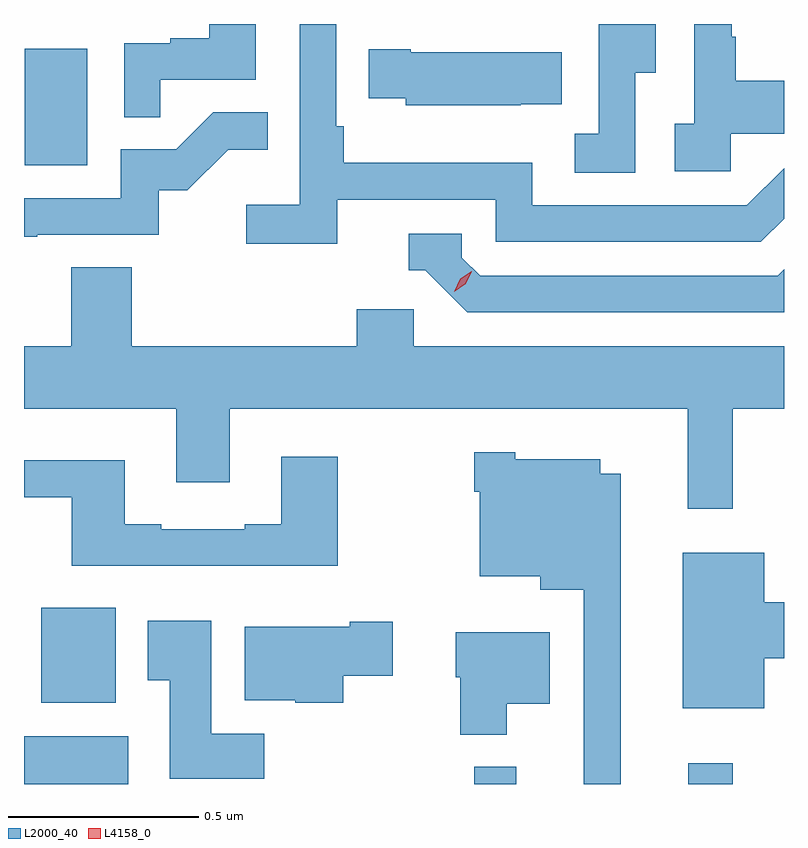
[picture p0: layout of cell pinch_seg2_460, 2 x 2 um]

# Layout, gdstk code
import gdstk
lib = gdstk.Library(unit=1e-6, precision=1e-09)
def R(c, l, rs):  # rectangles x0, y0, x1, y1
    for r in rs: c.add(gdstk.rectangle(r[:2], r[2:], *l))
def P(c, l, *ps):  # polygons
    for p in ps: c.add(gdstk.Polygon(p, *l))
L2000_40 = (2000, 40)
L4158_0 = (4158, 0)

pinch_seg2_460 = lib.new_cell('pinch_seg2_460')
R(pinch_seg2_460, L2000_40, [(912.792,609.352,913.066,609.478), (913.977,609.352,914.087,609.397), (914.54,609.352,914.657,609.406), (912.837,609.566,913.033,609.816), (912.794,610.98,912.958,611.287)])
P(pinch_seg2_460, L2000_40, [(913.616,610.89),(914.034,610.89),(914.034,610.779),(914.731,610.779),(914.792,610.84),(914.792,610.973),(914.694,610.875),(914.13,610.875),(914.13,610.987),(913.634,610.987),(913.634,611.083),(913.614,611.083),(913.614,611.352),(913.518,611.352),(913.518,610.876),(913.377,610.876),(913.377,610.774),(913.616,610.774)],
  [(913.151,611.205),(913.402,611.205),(913.402,611.352),(913.28,611.352),(913.28,611.314),(913.177,611.314),(913.177,611.301),(913.056,611.301),(913.056,611.107),(913.151,611.107)],
  [(914.652,611.063),(914.792,611.063),(914.792,611.203),(914.665,611.203),(914.665,611.318),(914.655,611.318),(914.655,611.352),(914.556,611.352),(914.556,611.09),(914.505,611.09),(914.505,610.965),(914.652,610.965)],
  [(914.4,611.224),(914.455,611.224),(914.455,611.352),(914.304,611.352),(914.304,611.063),(914.241,611.063),(914.241,610.96),(914.4,610.96)],
  [(914.099,611.141),(914.207,611.141),(914.207,611.278),(913.81,611.278),(913.81,611.286),(913.699,611.286),(913.699,611.156),(913.797,611.156),(913.797,611.138),(914.099,611.138)],
  [(912.827,610.797),(913.146,610.797),(913.146,610.914),(913.222,610.914),(913.329,611.021),(913.433,611.021),(913.433,611.12),(913.29,611.12),(913.192,611.022),(913.047,611.022),(913.047,610.893),(912.792,610.893),(912.792,610.792),(912.827,610.792)],
  [(914.792,610.706),(914.775,610.689),(913.992,610.689),(913.944,610.737),(913.944,610.8),(913.805,610.8),(913.805,610.704),(913.848,610.704),(913.959,610.593),(914.792,610.593)],
  [(914.657,610.34),(914.792,610.34),(914.792,610.504),(913.818,610.504),(913.818,610.602),(913.667,610.602),(913.667,610.504),(913.076,610.504),(913.076,610.712),(912.916,610.712),(912.916,610.504),(912.792,610.504),(912.792,610.34),(913.193,610.34),(913.193,610.146),(913.333,610.146),(913.333,610.34),(914.539,610.34),(914.539,610.077),(914.657,610.077)],
  [(914.362,610.168),(914.308,610.168),(914.308,610.207),(914.085,610.207),(914.085,610.225),(913.977,610.225),(913.977,610.121),(913.991,610.121),(913.991,609.899),(914.15,609.899),(914.15,609.863),(914.265,609.863),(914.265,609.352),(914.362,609.352)],
  [(913.617,610.213),(913.469,610.213),(913.469,610.036),(913.373,610.036),(913.373,610.023),(913.153,610.023),(913.153,610.036),(913.057,610.036),(913.057,610.204),(912.792,610.204),(912.792,610.107),(912.917,610.107),(912.917,609.926),(913.617,609.926)],
  [(914.74,609.683),(914.792,609.683),(914.792,609.83),(914.74,609.83),(914.74,609.961),(914.525,609.961),(914.525,609.551),(914.74,609.551)],
  [(913.424,609.484),(913.285,609.484),(913.285,609.781),(913.118,609.781),(913.118,609.625),(913.175,609.625),(913.175,609.366),(913.424,609.366)],
  [(913.632,609.637),(913.762,609.637),(913.762,609.779),(913.649,609.779),(913.649,609.766),(913.373,609.766),(913.373,609.572),(913.506,609.572),(913.506,609.566),(913.632,609.566)],
  [(914.062,609.563),(914.176,609.563),(914.176,609.751),(913.928,609.751),(913.928,609.633),(913.94,609.633),(913.94,609.482),(914.062,609.482)])
P(pinch_seg2_460, L4158_0, [(913.924,610.648),(913.924,610.648),(913.94,610.681),(913.97,610.702),(913.97,610.702),(913.97,610.701),(913.954,610.668),(913.924,610.648)])

lib.write_gds('pinch_seg2_460.gds')
